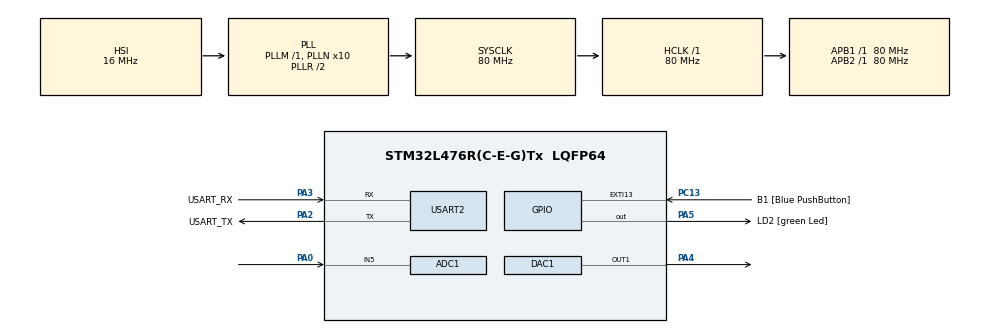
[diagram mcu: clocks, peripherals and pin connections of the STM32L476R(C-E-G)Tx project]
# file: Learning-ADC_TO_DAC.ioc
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ADC1.Channel-1\#ChannelRegularConversion=ADC_CHANNEL_5
ADC1.ClockPrescaler=ADC_CLOCK_ASYNC_DIV1
ADC1.ContinuousConvMode=DISABLE
ADC1.DMAContinuousRequests=ENABLE
ADC1.ExternalTrigConv=ADC_EXTERNALTRIG_T2_TRGO
ADC1.NbrOfConversionFlag=1
ADC1.OffsetNumber-1\#ChannelRegularConversion=ADC_OFFSET_NONE
ADC1.Rank-1\#ChannelRegularConversion=1
ADC1.SamplingTime-1\#ChannelRegularConversion=ADC_SAMPLETIME_2CYCLES_5
ADC1.master=1
DAC1.DAC_SampleAndHold-DAC_OUT1=DAC_SAMPLEANDHOLD_DISABLE
DAC1.DAC_Trigger-DAC_OUT1=DAC_TRIGGER_T2_TRGO
Dma.ADC1.1.Direction=DMA_PERIPH_TO_MEMORY
Dma.ADC1.1.Instance=DMA2_Channel3
Dma.ADC1.1.MemDataAlignment=DMA_MDATAALIGN_HALFWORD
Dma.ADC1.1.MemInc=DMA_MINC_ENABLE
Dma.ADC1.1.Mode=DMA_CIRCULAR
Dma.ADC1.1.PeriphDataAlignment=DMA_PDATAALIGN_HALFWORD
Dma.ADC1.1.PeriphInc=DMA_PINC_DISABLE
Dma.ADC1.1.Priority=DMA_PRIORITY_LOW
Dma.DAC_CH1.0.Direction=DMA_MEMORY_TO_PERIPH
Dma.DAC_CH1.0.Instance=DMA1_Channel3
Dma.DAC_CH1.0.MemDataAlignment=DMA_MDATAALIGN_HALFWORD
Dma.DAC_CH1.0.MemInc=DMA_MINC_ENABLE
Dma.DAC_CH1.0.Mode=DMA_CIRCULAR
Dma.DAC_CH1.0.PeriphDataAlignment=DMA_PDATAALIGN_HALFWORD
Dma.DAC_CH1.0.PeriphInc=DMA_PINC_DISABLE
Dma.DAC_CH1.0.Priority=DMA_PRIORITY_LOW
Dma.Request0=DAC_CH1
Dma.Request1=ADC1
Mcu.Family=STM32L4
Mcu.Name=STM32L476R(C-E-G)Tx
Mcu.Package=LQFP64
NVIC.DMA1_Channel3_IRQn=true\:0\:0\:false\:false\:true\:false\:true\:true
NVIC.DMA2_Channel3_IRQn=true\:0\:0\:false\:false\:true\:false\:true\:true
NVIC.PriorityGroup=NVIC_PRIORITYGROUP_4
PA0.Signal=ADCx_IN5
PA13\ (JTMS-SWDIO).GPIO_Label=TMS
PA13\ (JTMS-SWDIO).Mode=Serial_Wire
PA13\ (JTMS-SWDIO).Signal=SYS_JTMS-SWDIO
PA14\ (JTCK-SWCLK).GPIO_Label=TCK
PA14\ (JTCK-SWCLK).Mode=Serial_Wire
PA14\ (JTCK-SWCLK).Signal=SYS_JTCK-SWCLK
PA2.GPIO_Label=USART_TX
PA2.GPIO_Mode=GPIO_MODE_AF_PP
PA2.GPIO_PuPd=GPIO_NOPULL
PA2.GPIO_Speed=GPIO_SPEED_FREQ_VERY_HIGH
PA2.Mode=Asynchronous
PA2.Signal=USART2_TX
PA3.GPIO_Label=USART_RX
PA3.GPIO_Mode=GPIO_MODE_AF_PP
PA3.GPIO_PuPd=GPIO_NOPULL
PA3.GPIO_Speed=GPIO_SPEED_FREQ_VERY_HIGH
PA3.Mode=Asynchronous
PA3.Signal=USART2_RX
PA4.Signal=COMP_DAC11_group
PA5.GPIO_Label=LD2 [green Led]
PA5.GPIO_ModeDefaultOutputPP=GPIO_MODE_OUTPUT_PP
PA5.GPIO_PuPd=GPIO_NOPULL
PA5.GPIO_Speed=GPIO_SPEED_FREQ_LOW
PA5.Signal=GPIO_Output
PB3\ (JTDO-TRACESWO).GPIO_Label=SWO
PB3\ (JTDO-TRACESWO).Signal=SYS_JTDO-SWO
PC13.GPIO_Label=B1 [Blue PushButton]
PC13.GPIO_ModeDefaultEXTI=GPIO_MODE_IT_FALLING
PC13.GPIO_PuPd=GPIO_NOPULL
PC13.Signal=GPXTI13
PC14-OSC32_IN\ (PC14).Mode=LSE-External-Oscillator
PC14-OSC32_IN\ (PC14).Signal=RCC_OSC32_IN
PC15-OSC32_OUT\ (PC15).Mode=LSE-External-Oscillator
PC15-OSC32_OUT\ (PC15).Signal=RCC_OSC32_OUT
PH0-OSC_IN\ (PH0).Signal=RCC_OSC_IN
PH1-OSC_OUT\ (PH1).Signal=RCC_OSC_OUT
ProjectManager.HeapSize=0x200
ProjectManager.StackSize=0x400
ProjectManager.TargetToolchain=STM32CubeIDE
RCC.ADCFreq_Value=64000000
RCC.AHBFreq_Value=80000000
RCC.APB1Freq_Value=80000000
RCC.APB1TimFreq_Value=80000000
RCC.APB2Freq_Value=80000000
RCC.APB2TimFreq_Value=80000000
RCC.CortexFreq_Value=80000000
RCC.HCLKFreq_Value=80000000
RCC.HSE_VALUE=8000000
RCC.HSI_VALUE=16000000
RCC.MSI_VALUE=4000000
RCC.PLLN=10
RCC.PLLSourceVirtual=RCC_PLLSOURCE_HSI
RCC.PREFETCH_ENABLE=1
RCC.SYSCLKFreq_VALUE=80000000
RCC.SYSCLKSource=RCC_SYSCLKSOURCE_PLLCLK
RCC.USBFreq_Value=64000000
RCC.VCOOutputFreq_Value=160000000
SH.ADCx_IN5.0=ADC1_IN5,IN5-Single-Ended
SH.COMP_DAC11_group.0=DAC1_OUT1,DAC_OUT1
TIM2.AutoReloadPreload=TIM_AUTORELOAD_PRELOAD_ENABLE
TIM2.Period=4294967295
TIM2.TIM_MasterOutputTrigger=TIM_TRGO_UPDATE
USART2.VirtualMode-Asynchronous=VM_ASYNC
VP_TIM2_VS_ClockSourceINT.Mode=Internal
board=NUCLEO-L476RG

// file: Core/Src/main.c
/* USER CODE BEGIN Header */
/**
  ******************************************************************************
  * @file           : main.c
  * @brief          : Main program body
  ******************************************************************************
  * @attention
  *
  * Copyright (c) 2023 STMicroelectronics.
  * All rights reserved.
  *
  * This software is licensed under terms that can be found in the LICENSE file
  * in the root directory of this software component.
  * If no LICENSE file comes with this software, it is provided AS-IS.
  *
  ******************************************************************************
  */
/* USER CODE END Header */
#include "main.h"

/* USER CODE BEGIN PD */
#define TIM2_CLK 80000000
#define HALFBUFFSIZE 320
#define FULLBUFFSIZE 640
#define F_SIGNAL 1000
/* USER CODE END PD */

ADC_HandleTypeDef hadc1;
DMA_HandleTypeDef hdma_adc1;

DAC_HandleTypeDef hdac1;
DMA_HandleTypeDef hdma_dac_ch1;

TIM_HandleTypeDef htim2;

UART_HandleTypeDef huart2;

/* USER CODE BEGIN PV */
uint16_t buffer_adc[FULLBUFFSIZE]= {0};
uint16_t buffer_dac[FULLBUFFSIZE]= {0};
static volatile uint16_t* inbuffPtr;
static volatile uint16_t* outbuffPtr;
static uint32_t TIM2_Ticks = TIM2_CLK / (FULLBUFFSIZE * F_SIGNAL);
/* USER CODE END PV */

void SystemClock_Config(void);
static void MX_GPIO_Init(void);
static void MX_DMA_Init(void);
static void MX_USART2_UART_Init(void);
static void MX_ADC1_Init(void);
static void MX_DAC1_Init(void);
static void MX_TIM2_Init(void);
/* USER CODE BEGIN PFP */
void process_DSP(void)
{
    for (int n=0; n<HALFBUFFSIZE; n++)
    {
        outbuffPtr[n] = inbuffPtr[n];
    }
}
/* USER CODE END PFP */

int main(void)
{

  /* MCU Configuration--------------------------------------------------------*/

  /* Reset of all peripherals, Initializes the Flash interface and the Systick. */
  HAL_Init();

  /* Configure the system clock */
  SystemClock_Config();

  /* Initialize all configured peripherals */
  MX_GPIO_Init();
  MX_DMA_Init();
  MX_USART2_UART_Init();
  MX_ADC1_Init();
  MX_DAC1_Init();
  MX_TIM2_Init();
  /* USER CODE BEGIN 2 */
  HAL_ADCEx_Calibration_Start(&hadc1, ADC_SINGLE_ENDED);
  HAL_ADC_Start_DMA(&hadc1, (uint32_t*)buffer_adc, FULLBUFFSIZE);
  HAL_DAC_Start_DMA(&hdac1, DAC_CHANNEL_1, (uint32_t*)buffer_dac, FULLBUFFSIZE, DAC_ALIGN_12B_R);
  HAL_TIM_Base_Start(&htim2);
  /* USER CODE END 2 */

  /* Infinite loop */
  while (1)
  {

  }
}

void SystemClock_Config(void)
{
  RCC_OscInitTypeDef RCC_OscInitStruct = {0};
  RCC_ClkInitTypeDef RCC_ClkInitStruct = {0};

  /** Configure the main internal regulator output voltage
  */
  if (HAL_PWREx_ControlVoltageScaling(PWR_REGULATOR_VOLTAGE_SCALE1) != HAL_OK)
  {
    Error_Handler();
  }

  /** Initializes the RCC Oscillators according to the specified parameters
  * in the RCC_OscInitTypeDef structure.
  */
  RCC_OscInitStruct.OscillatorType = RCC_OSCILLATORTYPE_HSI;
  RCC_OscInitStruct.HSIState = RCC_HSI_ON;
  RCC_OscInitStruct.HSICalibrationValue = RCC_HSICALIBRATION_DEFAULT;
  RCC_OscInitStruct.PLL.PLLState = RCC_PLL_ON;
  RCC_OscInitStruct.PLL.PLLSource = RCC_PLLSOURCE_HSI;
  RCC_OscInitStruct.PLL.PLLM = 1;
  RCC_OscInitStruct.PLL.PLLN = 10;
  RCC_OscInitStruct.PLL.PLLP = RCC_PLLP_DIV7;
  RCC_OscInitStruct.PLL.PLLQ = RCC_PLLQ_DIV2;
  RCC_OscInitStruct.PLL.PLLR = RCC_PLLR_DIV2;
  if (HAL_RCC_OscConfig(&RCC_OscInitStruct) != HAL_OK)
  {
    Error_Handler();
  }

  /** Initializes the CPU, AHB and APB buses clocks
  */
  RCC_ClkInitStruct.ClockType = RCC_CLOCKTYPE_HCLK|RCC_CLOCKTYPE_SYSCLK
                              |RCC_CLOCKTYPE_PCLK1|RCC_CLOCKTYPE_PCLK2;
  RCC_ClkInitStruct.SYSCLKSource = RCC_SYSCLKSOURCE_PLLCLK;
  RCC_ClkInitStruct.AHBCLKDivider = RCC_SYSCLK_DIV1;
  RCC_ClkInitStruct.APB1CLKDivider = RCC_HCLK_DIV1;
  RCC_ClkInitStruct.APB2CLKDivider = RCC_HCLK_DIV1;

  if (HAL_RCC_ClockConfig(&RCC_ClkInitStruct, FLASH_LATENCY_4) != HAL_OK)
  {
    Error_Handler();
  }
}

static void MX_ADC1_Init(void)
{

  ADC_MultiModeTypeDef multimode = {0};
  ADC_ChannelConfTypeDef sConfig = {0};

  /** Common config
  */
  hadc1.Instance = ADC1;
  hadc1.Init.ClockPrescaler = ADC_CLOCK_ASYNC_DIV1;
  hadc1.Init.Resolution = ADC_RESOLUTION_12B;
  hadc1.Init.DataAlign = ADC_DATAALIGN_RIGHT;
  hadc1.Init.ScanConvMode = ADC_SCAN_DISABLE;
  hadc1.Init.EOCSelection = ADC_EOC_SINGLE_CONV;
  hadc1.Init.LowPowerAutoWait = DISABLE;
  hadc1.Init.ContinuousConvMode = DISABLE;
  hadc1.Init.NbrOfConversion = 1;
  hadc1.Init.DiscontinuousConvMode = DISABLE;
  hadc1.Init.ExternalTrigConv = ADC_EXTERNALTRIG_T2_TRGO;
  hadc1.Init.ExternalTrigConvEdge = ADC_EXTERNALTRIGCONVEDGE_RISING;
  hadc1.Init.DMAContinuousRequests = ENABLE;
  hadc1.Init.Overrun = ADC_OVR_DATA_PRESERVED;
  hadc1.Init.OversamplingMode = DISABLE;
  if (HAL_ADC_Init(&hadc1) != HAL_OK)
  {
    Error_Handler();
  }

  /** Configure the ADC multi-mode
  */
  multimode.Mode = ADC_MODE_INDEPENDENT;
  if (HAL_ADCEx_MultiModeConfigChannel(&hadc1, &multimode) != HAL_OK)
  {
    Error_Handler();
  }

  /** Configure Regular Channel
  */
  sConfig.Channel = ADC_CHANNEL_5;
  sConfig.Rank = ADC_REGULAR_RANK_1;
  sConfig.SamplingTime = ADC_SAMPLETIME_2CYCLES_5;
  sConfig.SingleDiff = ADC_SINGLE_ENDED;
  sConfig.OffsetNumber = ADC_OFFSET_NONE;
  sConfig.Offset = 0;
  if (HAL_ADC_ConfigChannel(&hadc1, &sConfig) != HAL_OK)
  {
    Error_Handler();
  }

}

static void MX_DAC1_Init(void)
{

  DAC_ChannelConfTypeDef sConfig = {0};

  /** DAC Initialization
  */
  hdac1.Instance = DAC1;
  if (HAL_DAC_Init(&hdac1) != HAL_OK)
  {
    Error_Handler();
  }

  /** DAC channel OUT1 config
  */
  sConfig.DAC_SampleAndHold = DAC_SAMPLEANDHOLD_DISABLE;
  sConfig.DAC_Trigger = DAC_TRIGGER_T2_TRGO;
  sConfig.DAC_OutputBuffer = DAC_OUTPUTBUFFER_ENABLE;
  sConfig.DAC_ConnectOnChipPeripheral = DAC_CHIPCONNECT_DISABLE;
  sConfig.DAC_UserTrimming = DAC_TRIMMING_FACTORY;
  if (HAL_DAC_ConfigChannel(&hdac1, &sConfig, DAC_CHANNEL_1) != HAL_OK)
  {
    Error_Handler();
  }

}

static void MX_TIM2_Init(void)
{

  TIM_ClockConfigTypeDef sClockSourceConfig = {0};
  TIM_MasterConfigTypeDef sMasterConfig = {0};

  htim2.Instance = TIM2;
  htim2.Init.Prescaler = 0;
  htim2.Init.CounterMode = TIM_COUNTERMODE_UP;
  htim2.Init.Period = TIM2_Ticks-1;
  htim2.Init.ClockDivision = TIM_CLOCKDIVISION_DIV1;
  htim2.Init.AutoReloadPreload = TIM_AUTORELOAD_PRELOAD_ENABLE;
  if (HAL_TIM_Base_Init(&htim2) != HAL_OK)
  {
    Error_Handler();
  }
  sClockSourceConfig.ClockSource = TIM_CLOCKSOURCE_INTERNAL;
  if (HAL_TIM_ConfigClockSource(&htim2, &sClockSourceConfig) != HAL_OK)
  {
    Error_Handler();
  }
  sMasterConfig.MasterOutputTrigger = TIM_TRGO_UPDATE;
  sMasterConfig.MasterSlaveMode = TIM_MASTERSLAVEMODE_DISABLE;
  if (HAL_TIMEx_MasterConfigSynchronization(&htim2, &sMasterConfig) != HAL_OK)
  {
    Error_Handler();
  }
  /* USER CODE BEGIN TIM2_Init 2 */
  //htim2.Init.Period = TIM2_Ticks-1;
  /* USER CODE END TIM2_Init 2 */

}

static void MX_USART2_UART_Init(void)
{

  huart2.Instance = USART2;
  huart2.Init.BaudRate = 115200;
  huart2.Init.WordLength = UART_WORDLENGTH_8B;
  huart2.Init.StopBits = UART_STOPBITS_1;
  huart2.Init.Parity = UART_PARITY_NONE;
  huart2.Init.Mode = UART_MODE_TX_RX;
  huart2.Init.HwFlowCtl = UART_HWCONTROL_NONE;
  huart2.Init.OverSampling = UART_OVERSAMPLING_16;
  huart2.Init.OneBitSampling = UART_ONE_BIT_SAMPLE_DISABLE;
  huart2.AdvancedInit.AdvFeatureInit = UART_ADVFEATURE_NO_INIT;
  if (HAL_UART_Init(&huart2) != HAL_OK)
  {
    Error_Handler();
  }

}

static void MX_DMA_Init(void)
{

  /* DMA controller clock enable */
  __HAL_RCC_DMA1_CLK_ENABLE();
  __HAL_RCC_DMA2_CLK_ENABLE();

  /* DMA interrupt init */
  /* DMA1_Channel3_IRQn interrupt configuration */
  HAL_NVIC_SetPriority(DMA1_Channel3_IRQn, 0, 0);
  HAL_NVIC_EnableIRQ(DMA1_Channel3_IRQn);
  /* DMA2_Channel3_IRQn interrupt configuration */
  HAL_NVIC_SetPriority(DMA2_Channel3_IRQn, 0, 0);
  HAL_NVIC_EnableIRQ(DMA2_Channel3_IRQn);

}

static void MX_GPIO_Init(void)
{
  GPIO_InitTypeDef GPIO_InitStruct = {0};

  /* GPIO Ports Clock Enable */
  __HAL_RCC_GPIOC_CLK_ENABLE();
  __HAL_RCC_GPIOH_CLK_ENABLE();
  __HAL_RCC_GPIOA_CLK_ENABLE();
  __HAL_RCC_GPIOB_CLK_ENABLE();

  /*Configure GPIO pin Output Level */
  HAL_GPIO_WritePin(LD2_GPIO_Port, LD2_Pin, GPIO_PIN_RESET);

  /*Configure GPIO pin : B1_Pin */
  GPIO_InitStruct.Pin = B1_Pin;
  GPIO_InitStruct.Mode = GPIO_MODE_IT_FALLING;
  GPIO_InitStruct.Pull = GPIO_NOPULL;
  HAL_GPIO_Init(B1_GPIO_Port, &GPIO_InitStruct);

  /*Configure GPIO pin : LD2_Pin */
  GPIO_InitStruct.Pin = LD2_Pin;
  GPIO_InitStruct.Mode = GPIO_MODE_OUTPUT_PP;
  GPIO_InitStruct.Pull = GPIO_NOPULL;
  GPIO_InitStruct.Speed = GPIO_SPEED_FREQ_LOW;
  HAL_GPIO_Init(LD2_GPIO_Port, &GPIO_InitStruct);

}

/* USER CODE BEGIN 4 */
// Called when first half of buffer is filled
void HAL_ADC_ConvHalfCpltCallback(ADC_HandleTypeDef* hadc)
{
	//HAL_GPIO_WritePin(LD2_GPIO_Port, LD2_Pin, GPIO_PIN_SET);
    inbuffPtr = &buffer_adc[0];
    outbuffPtr = &buffer_dac[0];
    process_DSP();
}
// Called when buffer is completely filled
void HAL_ADC_ConvCpltCallback(ADC_HandleTypeDef* hadc)
{
	//HAL_GPIO_WritePin(LD2_GPIO_Port, LD2_Pin, GPIO_PIN_RESET);
	HAL_GPIO_TogglePin(LD2_GPIO_Port, LD2_Pin);
    inbuffPtr = &buffer_adc[HALFBUFFSIZE];
    outbuffPtr = &buffer_dac[HALFBUFFSIZE];
    process_DSP();
}
// Called when first half of buffer is filled
void HAL_DAC_ConvHalfCpltCallbackCh1(DAC_HandleTypeDef *hdac)
{
	//HAL_GPIO_WritePin(LD2_GPIO_Port, LD2_Pin, GPIO_PIN_RESET);
}
// Called when buffer is completely filled
void HAL_DAC_ConvCpltCallbackCh1(DAC_HandleTypeDef *hdac)
{
	//HAL_GPIO_WritePin(LD2_GPIO_Port, LD2_Pin, GPIO_PIN_SET);
	//HAL_GPIO_TogglePin(LD2_GPIO_Port, LD2_Pin);
}
/* USER CODE END 4 */

void Error_Handler(void)
{
  __disable_irq();
  while (1)
  {
  }
}
